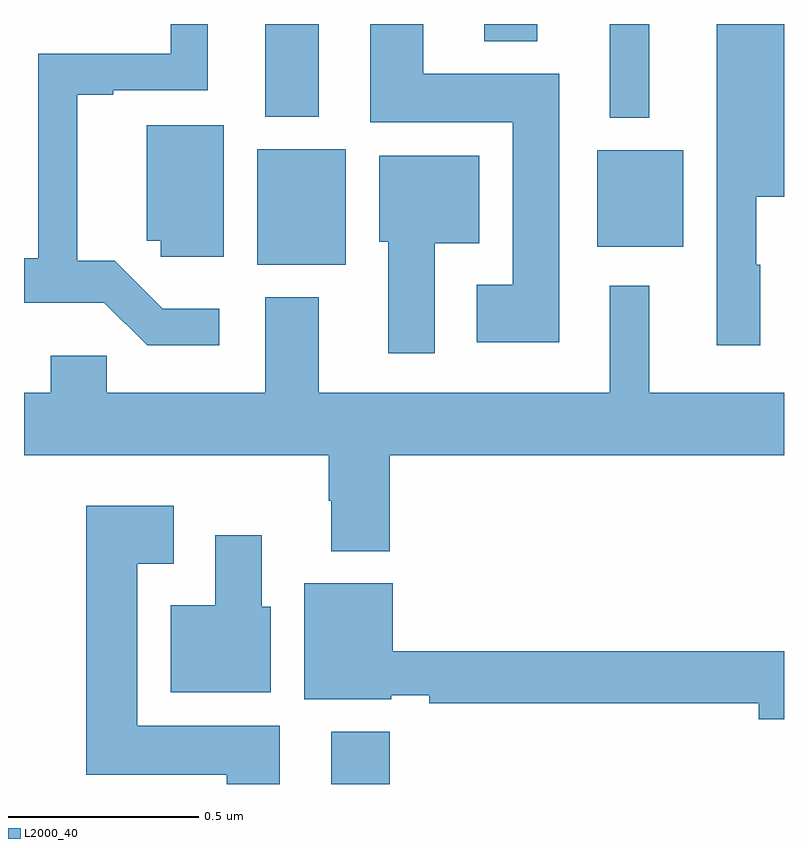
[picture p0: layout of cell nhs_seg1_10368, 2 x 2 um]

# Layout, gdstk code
import gdstk
lib = gdstk.Library(unit=1e-6, precision=1e-09)
def R(c, l, rs):  # rectangles x0, y0, x1, y1
    for r in rs: c.add(gdstk.rectangle(r[:2], r[2:], *l))
def P(c, l, *ps):  # polygons
    for p in ps: c.add(gdstk.Polygon(p, *l))
L2000_40 = (2000, 40)

nhs_seg1_10368 = lib.new_cell('nhs_seg1_10368')
R(nhs_seg1_10368, L2000_40, [(240.809,552.199,240.962,552.337), (240.614,553.565,240.847,553.87), (241.508,553.613,241.735,553.867), (241.541,553.952,241.645,554.199), (240.635,553.955,240.775,554.199), (241.211,554.153,241.351,554.199)])
P(nhs_seg1_10368, L2000_40, [(240.514,553.45),(240.365,553.45),(240.239,553.576),(240.14,553.576),(240.14,554.013),(240.235,554.013),(240.235,554.025),(240.484,554.025),(240.484,554.199),(240.386,554.199),(240.386,554.121),(240.037,554.121),(240.037,553.583),(240,553.583),(240,553.466),(240.211,553.466),(240.324,553.353),(240.514,553.353)],
  [(241.937,553.566),(241.927,553.566),(241.927,553.744),(242,553.744),(242,554.199),(241.823,554.199),(241.823,553.353),(241.937,553.353)],
  [(241.408,554.068),(241.051,554.068),(241.051,554.199),(240.911,554.199),(240.911,553.94),(241.286,553.94),(241.286,553.513),(241.191,553.513),(241.191,553.361),(241.408,553.361)],
  [(240.526,553.933),(240.323,553.933),(240.323,553.628),(240.36,553.628),(240.36,553.586),(240.526,553.586)],
  [(241.081,553.622),(241.198,553.622),(241.198,553.852),(240.935,553.852),(240.935,553.626),(240.959,553.626),(240.959,553.332),(241.081,553.332)],
  [(240.962,553.064),(242,553.064),(242,553.228),(241.645,553.228),(241.645,553.51),(241.541,553.51),(241.541,553.228),(240.775,553.228),(240.775,553.48),(240.635,553.48),(240.635,553.228),(240.218,553.228),(240.218,553.326),(240.071,553.326),(240.071,553.228),(240,553.228),(240,553.064),(240.802,553.064),(240.802,552.944),(240.809,552.944),(240.809,552.812),(240.962,552.812)],
  [(240.673,552.352),(240.298,552.352),(240.298,552.779),(240.394,552.779),(240.394,552.931),(240.164,552.931),(240.164,552.224),(240.533,552.224),(240.533,552.199),(240.673,552.199)],
  [(240.649,552.666),(240.625,552.666),(240.625,552.853),(240.503,552.853),(240.503,552.67),(240.386,552.67),(240.386,552.44),(240.649,552.44)],
  [(242,552.548),(240.97,552.548),(240.97,552.727),(240.737,552.727),(240.737,552.422),(240.966,552.422),(240.966,552.432),(241.066,552.432),(241.066,552.412),(241.934,552.412),(241.934,552.37),(242,552.37)])

lib.write_gds('nhs_seg1_10368.gds')
